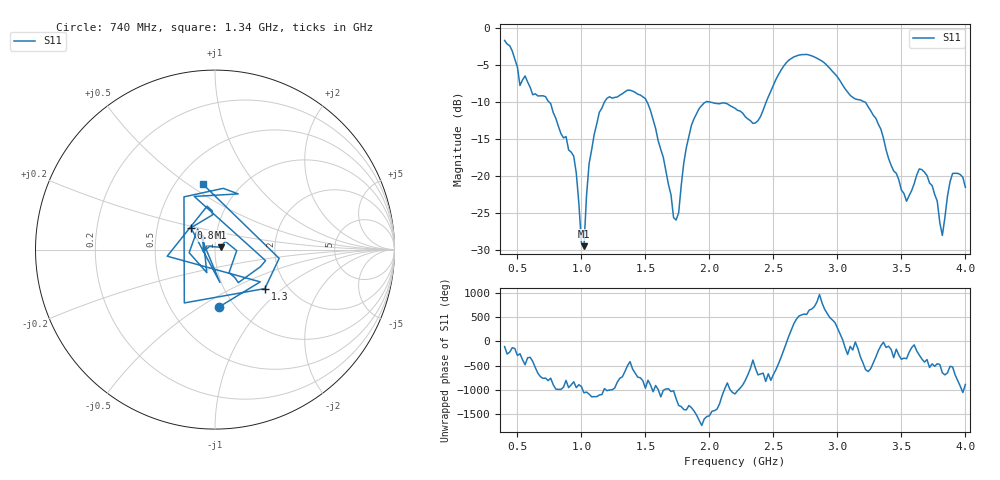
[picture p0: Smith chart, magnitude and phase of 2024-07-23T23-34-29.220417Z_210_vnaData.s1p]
!Created with skrf (http://scikit-rf.org).
# Hz S RI R 50.0
!freq ReS11 ImS11
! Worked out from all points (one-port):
!   181 points, 400 MHz to 4 GHz, reference 50 ohm
!   lowest |S11| = -29.5 dB at 1.02 GHz (marker M1), VSWR 1.07, Z = 53.1 + j1.41 ohm
!   |S11| at or under -10 dB: 1.514 GHz to 1.969 GHz (455.3 MHz wide, 26.1 % of centre); 2.009 GHz to 2.443 GHz (433.5 MHz wide, 19.5 % of centre); 3.217 GHz to end of sweep (the widest 3 of 4)
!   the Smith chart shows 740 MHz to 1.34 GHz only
!   S11 on the Smith chart (normalised r, x): 740 MHz: 0.84, -0.60; 860 MHz: 0.74, +0.19; 1.3 GHz: 1.54, -0.76; 1.34 GHz: 0.68, +0.57
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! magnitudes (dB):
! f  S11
! 400 MHz  -1.6
! 520 MHz  -7.7
! 740 MHz  -9.8
! 860 MHz  -14.8
! 940 MHz  -17.3
! 1 GHz  -29.1
! 1.02 GHz  -29.5
! 1.06 GHz  -18.3
! 1.14 GHz  -11.4
! 1.3 GHz  -9.1
! 1.34 GHz  -8.6
! 1.52 GHz  -10.2
! 1.72 GHz  -25.6
! 1.76 GHz  -25.0
! 1.82 GHz  -16.1
! 1.92 GHz  -10.9
! 2.2 GHz  -10.8
! 2.36 GHz  -12.8
! 2.66 GHz  -3.9
! 2.88 GHz  -4.4
! 3.1 GHz  -9.1
! 3.3 GHz  -12.2
! 3.56 GHz  -22.7
! 3.68 GHz  -19.5
! 3.78 GHz  -23.4
! 3.82 GHz  -28.1
! 3.9 GHz  -19.7
! 4 GHz  -21.5
